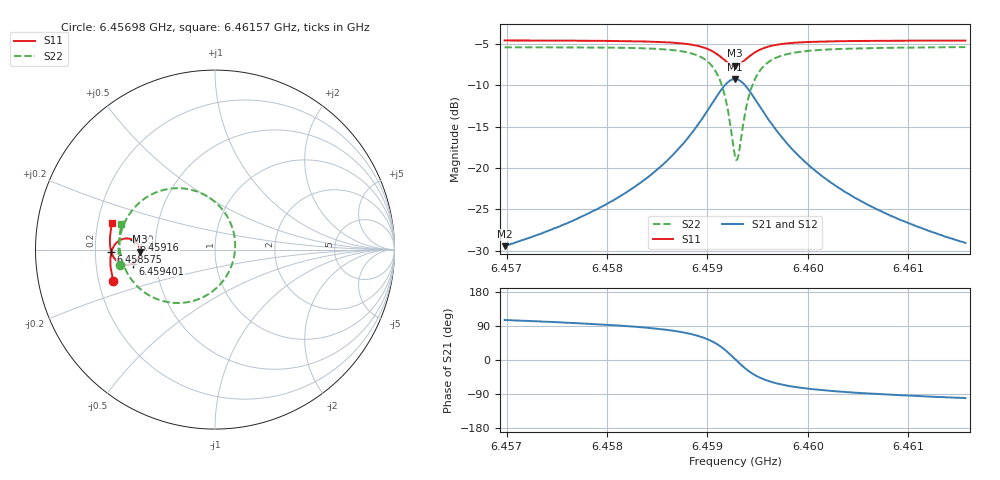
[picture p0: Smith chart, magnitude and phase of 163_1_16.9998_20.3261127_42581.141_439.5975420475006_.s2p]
#  HZ  S  RI  R  50.00
! Rohde & Schwarz Vector Network Analyzer
! Rohde-Schwarz,ZNB20-2Port,1311601062101988,3.16
! Created: UTC 3/20/2024, 10:59:19 PM
! freq[Hz]  re:S11  im:S11  re:S21  im:S21  re:S12  im:S12  re:S22  im:S22
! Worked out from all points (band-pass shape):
!   401 points, 6.45698 GHz to 6.46157 GHz, reference 50 ohm
!   highest |S21| = -9.22 dB at 6.459275 GHz (marker M1); lowest = -29.5 dB at 6.45698 GHz (marker M2)
!   |S21| within 3 dB of the highest: 6.459045 GHz to 6.459504 GHz (459.4 kHz wide, 0.00711 % of centre)
!   lowest |S11| = -7.6 dB at 6.459275 GHz (marker M3), VSWR 2.43, Z = 20.5 - j0.58 ohm
!   |S11| at or under -10 dB: nowhere
!   |S22| runs from -19.0 to -5.4 dB; largest |S21 - S12| = 0.014
!   S11 on the Smith chart (normalised r, x): 6.45698 GHz: 0.26, -0.14; 6.458575 GHz: 0.27, -0.01; 6.45916 GHz: 0.37, +0.05; 6.459401 GHz: 0.37, -0.07; 6.46157 GHz: 0.26, +0.12
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6.4569797e9  -0.5662 -0.1734  -0.00903 0.0324  -0.0073 0.0324  -0.5316 -0.0859
6.4577485e9  -0.5803 -0.106  -0.00582 0.0506  -0.00321 0.0498  -0.5373 0.00407
6.4581731e9  -0.5833 -0.0635  0.000282 0.07  0.0035 0.0687  -0.5295 0.0714
6.4585174e9  -0.5796 -0.0221  0.014 0.099  0.0179 0.0963  -0.5041 0.1492
6.4585747e9  -0.5778 -0.0143  0.0183 0.1059  0.0223 0.1029  -0.496 0.1657
6.4587813e9  -0.5648 0.0179  0.0458 0.1384  0.0499 0.1335  -0.4446 0.2387
6.4589305e9  -0.5421 0.0443  0.0911 0.1693  0.0944 0.1625  -0.3611 0.3033
6.4590682e9  -0.498 0.0618  0.1786 0.186  0.1796 0.1785  -0.2017 0.3421
6.45916e9  -0.4533 0.0516  0.2686 0.1546  0.2689 0.1487  -0.0353 0.2918
6.4592288e9  -0.4241 0.0194  0.3293 0.0826  0.3316 0.0773  0.0801 0.1622
6.4592747e9  -0.4174 -0.0117  0.3457 0.0147  0.3494 0.00777  0.1123 0.0356
6.4592862e9  -0.4176 -0.0197  0.3455 -0.00318  0.3493 -0.0107  0.1119 0.00186
6.4593092e9  -0.4212 -0.0355  0.3399 -0.0378  0.3438 -0.047  0.1007 -0.0637
6.4593551e9  -0.4368 -0.0616  0.3114 -0.0977  0.3137 -0.1095  0.0434 -0.1766
6.459401e9  -0.4589 -0.078  0.2695 -0.1387  0.2687 -0.152  -0.0415 -0.2514
6.4594928e9  -0.5023 -0.085  0.1848 -0.17  0.1787 -0.1816  -0.2099 -0.2976
6.4596419e9  -0.5463 -0.0645  0.0968 -0.1564  0.0884 -0.1626  -0.3773 -0.2488
6.4598026e9  -0.568 -0.0369  0.0519 -0.1286  0.0442 -0.1315  -0.4577 -0.1771
6.4600436e9  -0.5807 -0.00151  0.0226 -0.0972  0.0169 -0.0978  -0.5058 -0.095
6.4603763e9  -0.5856 0.0383  0.0068 -0.0711  0.00274 -0.0707  -0.5273 -0.0182
6.4608124e9  -0.5838 0.0823  -0.00113 -0.0518  -0.00404 -0.0512  -0.5321 0.052
6.4615697e9  -0.5719 0.1495  -0.00644 -0.0346  -0.00815 -0.0338  -0.521 0.1416
